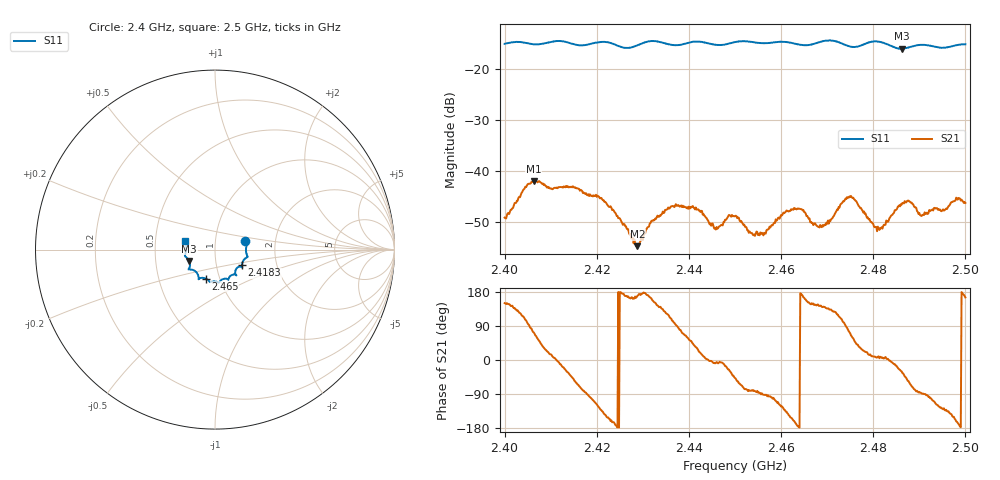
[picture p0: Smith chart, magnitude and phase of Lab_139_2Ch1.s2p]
# Hz S RI R 50
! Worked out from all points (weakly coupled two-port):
!   601 points, 2.4 GHz to 2.5 GHz, reference 50 ohm
!   highest |S21| = -41.94 dB at 2.4063 GHz (marker M1); lowest = -54.7 dB at 2.4288 GHz (marker M2)
!   lowest |S11| = -16.1 dB at 2.4862 GHz (marker M3), VSWR 1.37, Z = 37.2 - j4.8 ohm
!   |S11| at or under -10 dB: start of sweep to end of sweep
!   S12 and S22 are empty: the file has one direction only
!   S11 on the Smith chart (normalised r, x): 2.4 GHz: 1.40, +0.13; 2.4183 GHz: 1.33, -0.24; 2.465 GHz: 0.86, -0.28; 2.5 GHz: 0.71, +0.07
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2.4e9  0.1687 0.0463  -0.00303 0.00174  0 0  0 0
2.406333e9  0.1728 0.00491  0.0024 0.00763  0 0  0 0
2.416667e9  0.1547 -0.0677  0.00161 -0.00626  0 0  0 0
2.418333e9  0.15 -0.0869  -0.000554 -0.00566  0 0  0 0
2.423333e9  0.1478 -0.0963  -0.00399 -0.00113  0 0  0 0
2.428833e9  0.1122 -0.127  -0.00181 0.000338  0 0  0 0
2.433333e9  0.1177 -0.1411  -0.00283 0.00217  0 0  0 0
2.4405e9  0.0751 -0.1658  0.00281 0.00337  0 0  0 0
2.446e9  0.0539 -0.162  0.00281 -0.00027  0 0  0 0
2.45e9  0.0257 -0.1801  0.00244 -0.00264  0 0  0 0
2.455667e9  0.00242 -0.1778  -2.45e-05 -0.00242  0 0  0 0
2.461e9  -0.0297 -0.18  -0.00287 -0.00276  0 0  0 0
2.465e9  -0.0524 -0.1612  -0.00382 0.00108  0 0  0 0
2.466667e9  -0.0712 -0.1572  -0.00267 0.00155  0 0  0 0
2.469833e9  -0.0914 -0.1646  -0.00227 0.00214  0 0  0 0
2.474833e9  -0.0994 -0.1321  0.0016 0.0054  0 0  0 0
2.480833e9  -0.148 -0.1105  0.00256 0.000289  0 0  0 0
2.483333e9  -0.141 -0.0966  0.00326 2.17e-05  0 0  0 0
2.486167e9  -0.1433 -0.063  0.00405 -0.00235  0 0  0 0
2.488e9  -0.1563 -0.0463  0.00223 -0.00447  0 0  0 0
2.4905e9  -0.167 -0.0357  0.00011 -0.00362  0 0  0 0
2.5e9  -0.1668 0.0468  -0.0047 0.00125  0 0  0 0
